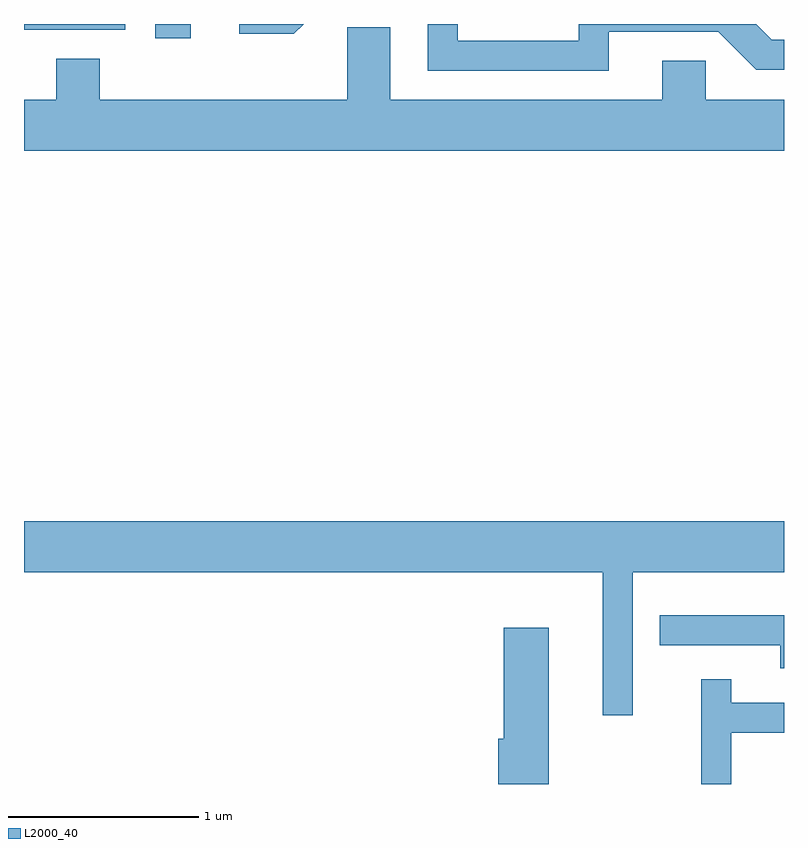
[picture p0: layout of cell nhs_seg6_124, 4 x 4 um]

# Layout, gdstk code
import gdstk
lib = gdstk.Library(unit=1e-6, precision=1e-09)
def R(c, l, rs):  # rectangles x0, y0, x1, y1
    for r in rs: c.add(gdstk.rectangle(r[:2], r[2:], *l))
def P(c, l, *ps):  # polygons
    for p in ps: c.add(gdstk.Polygon(p, *l))
L2000_40 = (2000, 40)

nhs_seg6_124 = lib.new_cell('nhs_seg6_124')
R(nhs_seg6_124, L2000_40, [(188.301,1646.086,188.489,1646.162), (187.611,1646.131,188.144,1646.162)])
P(nhs_seg6_124, L2000_40, [(189.083,1646.162),(188.743,1646.162),(188.743,1646.111),(189.032,1646.111)],
  [(190.689,1646.121),(191.264,1646.121),(191.464,1645.921),(191.611,1645.921),(191.611,1646.079),(191.547,1646.079),(191.464,1646.162),(190.531,1646.162),(190.531,1646.074),(189.894,1646.074),(189.894,1646.162),(189.736,1646.162),(189.736,1645.916),(190.689,1645.916)],
  [(191.611,1645.764),(191.199,1645.764),(191.199,1645.969),(190.971,1645.969),(190.971,1645.764),(189.539,1645.764),(189.539,1646.144),(189.311,1646.144),(189.311,1645.764),(188.009,1645.764),(188.009,1645.979),(187.781,1645.979),(187.781,1645.764),(187.611,1645.764),(187.611,1645.496),(191.611,1645.496)],
  [(190.814,1643.276),(191.611,1643.276),(191.611,1643.544),(187.611,1643.544),(187.611,1643.276),(190.656,1643.276),(190.656,1642.523),(190.814,1642.523)],
  [(191.611,1643.049),(190.958,1643.049),(190.958,1642.891),(191.591,1642.891),(191.591,1642.771),(191.611,1642.771)],
  [(190.374,1642.984),(190.136,1642.984),(190.136,1642.399),(190.106,1642.399),(190.106,1642.162),(190.374,1642.162)],
  [(191.334,1642.431),(191.611,1642.431),(191.611,1642.589),(191.334,1642.589),(191.334,1642.713),(191.176,1642.713),(191.176,1642.162),(191.334,1642.162)])

lib.write_gds('nhs_seg6_124.gds')
